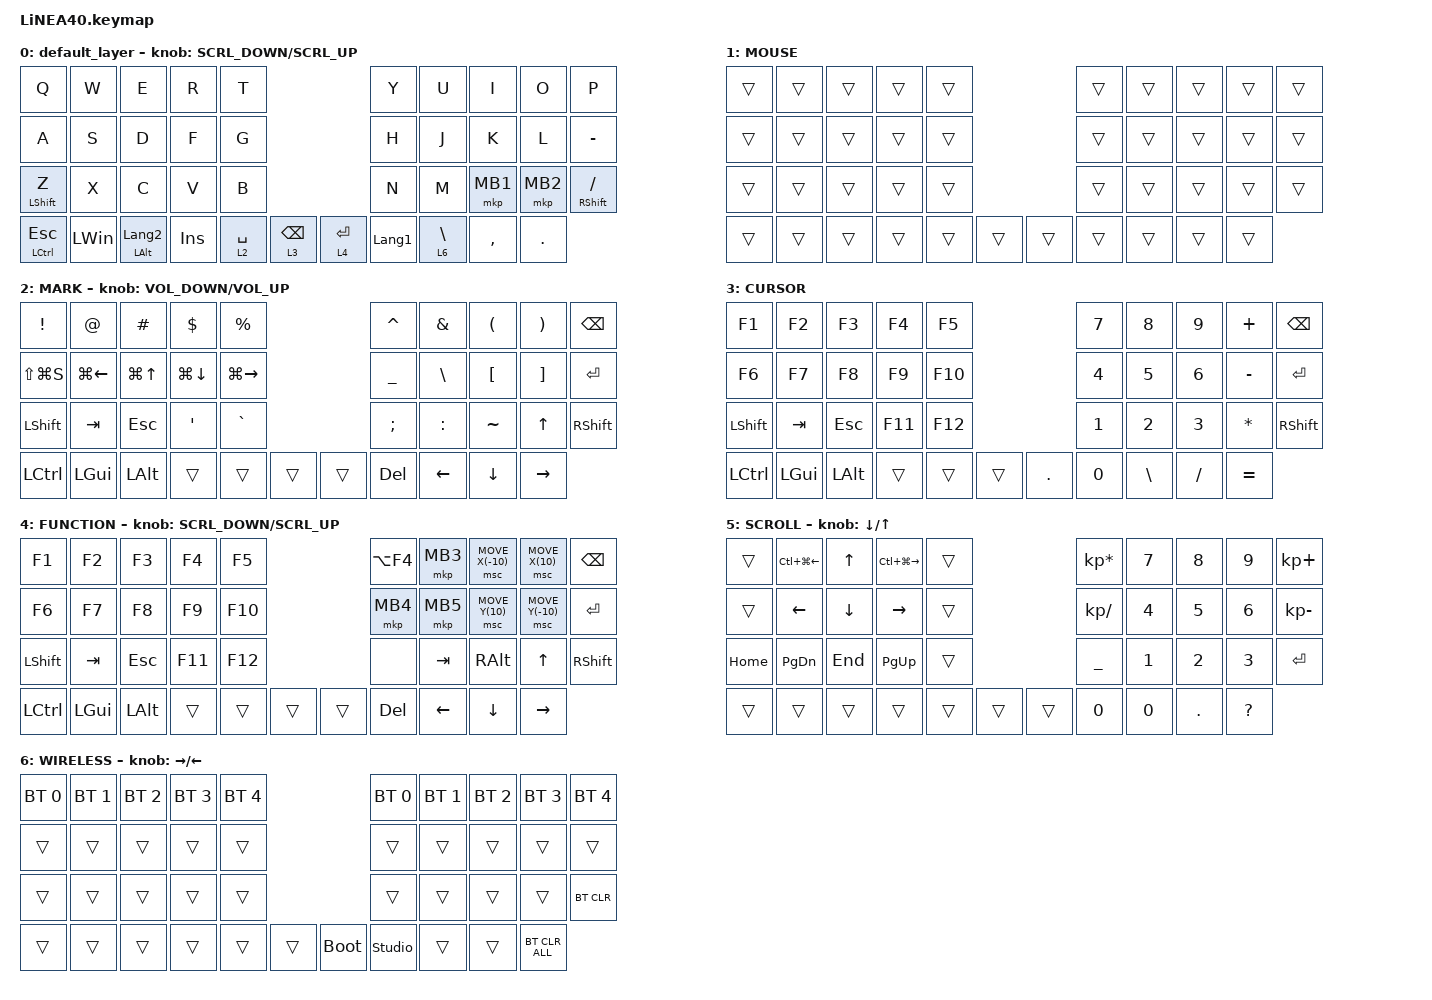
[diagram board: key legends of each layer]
#define ZMK_POINTING_DEFAULT_SCRL_VAL 150

#include <dt-bindings/zmk/input_transform.h>
#include <input/processors.dtsi>
#include <zephyr/dt-bindings/input/input-event-codes.h>
#include <behaviors.dtsi>
#include <dt-bindings/zmk/bt.h>
#include <dt-bindings/zmk/keys.h>
#include <dt-bindings/zmk/pointing.h>

#define MOUSE 1
#define MARK 2
#define CURSOR 3
#define FUNCTION 4
#define SCROLL 5
#define WIRELESS 6

//mouse cursol

&mmv {
    delay-ms = <20>;
    trigger-period-ms = <5>;
    time-to-max-speed-ms = <100>;
    acceleration-exponent = <2>;
};

//mouse scroll

&msc {
    delay-ms = <3>;
    trigger-period-ms = <3>;
    time-to-max-speed-ms = <100>;
    acceleration-exponent = <0>;
};

&mt {
    flavor = "tap-preferred";
    quick-tap-ms = <125>;
};

&lt { quick-tap-ms = <125>; };

/ {
    input_processors {
        zip_wheel_scaler: zip_wheel_scaler {
            compatible = "zmk,input-processor-scaler";
            #input-processor-cells = <2>;
            type = <INPUT_EV_REL>;
            codes = <INPUT_REL_WHEEL>;
            track-remainders;
        };
    };
};

&msc_input_listener {
    speed_up {
        layers = <FUNCTION>;
        input-processors = <&zip_wheel_scaler 3 1>; //スクロールを3倍速にする
    };
};

&trackball_listener {
    scroller {
        layers = <SCROLL>;
        input-processors =
            <&zip_xy_transform INPUT_TRANSFORM_Y_INVERT>,
            //スクロール方向を逆転,,,,,,,,,,,,,,,,,,,,,,,,,,,,,,,,,
            <&zip_xy_to_scroll_mapper>;
    };
};

/ {
    combos { compatible = "zmk,combos"; };

    behaviors {
        re_kp: sensor_rotate_kp {
            compatible = "zmk,behavior-sensor-rotate-var";
            #sensor-binding-cells = <2>;
            bindings = <&kp>, <&kp>;
        };

        mouse_scrl: mouse_wheel_scrl {
            compatible = "zmk,behavior-sensor-rotate-var";
            #sensor-binding-cells = <2>;
            bindings = <&msc>, <&msc>;

            tap-ms = <20>;
        };
    };

    keymap {
        compatible = "zmk,keymap";

        default_layer {
            bindings = <
&kp Q             &kp W         &kp E                    &kp R    &kp T                                        &kp Y           &kp U  &kp I            &kp O      &kp P
&kp A             &kp S         &kp D                    &kp F    &kp G                                        &kp H           &kp J  &kp K            &kp L      &kp MINUS
&mt LEFT_SHIFT Z  &kp X         &kp C                    &kp V    &kp B                                        &kp N           &kp M  &mkp MB1         &mkp MB2   &mt RIGHT_SHIFT SLASH
&mt LCTRL ESCAPE  &kp LEFT_WIN  &mt LEFT_ALT LANGUAGE_2  &kp INS  &lt 2 SPACE  &lt 3 BACKSPACE    &lt 4 ENTER  &kp LANGUAGE_1         &lt 6 BACKSLASH  &kp COMMA  &kp DOT
            >;

            sensor-bindings = <&mouse_scrl SCRL_DOWN SCRL_UP>;
        };

        //1

        MOUSE {
            bindings = <
&trans  &trans  &trans  &trans  &trans                    &trans  &trans  &trans  &trans  &trans
&trans  &trans  &trans  &trans  &trans                    &trans  &trans  &trans  &trans  &trans
&trans  &trans  &trans  &trans  &trans                    &trans  &trans  &trans  &trans  &trans
&trans  &trans  &trans  &trans  &trans  &trans    &trans  &trans          &trans  &trans  &trans
            >;
        };

        //2

        MARK {
            bindings = <
&kp EXCLAMATION  &kp AT              &kp HASH          &kp DOLLAR    &kp PERCENT                      &kp CARET      &kp AMPERSAND  &kp LEFT_PARENTHESIS  &kp RIGHT_PARENTHESIS  &kp BACKSPACE
&kp LS(LG(S))    &kp LG(LEFT_ARROW)  &kp LG(UP_ARROW)  &kp LG(DOWN)  &kp LG(RIGHT)                    &kp UNDER      &kp BACKSLASH  &kp LEFT_BRACKET      &kp RIGHT_BRACKET      &kp ENTER
&kp LEFT_SHIFT   &kp TAB             &kp ESC           &kp APOS      &kp GRAVE                        &kp SEMICOLON  &kp COLON      &kp TILDE             &kp UP_ARROW           &kp RIGHT_SHIFT
&kp LCTRL        &kp LEFT_GUI        &kp LEFT_ALT      &trans        &trans         &trans    &trans  &kp DEL                       &kp LEFT_ARROW        &kp DOWN               &kp RIGHT
            >;

            sensor-bindings = <&re_kp C_VOLUME_DOWN C_VOLUME_UP>;
        };

        //3

        CURSOR {
            bindings = <
&kp F1          &kp F2        &kp F3        &kp F4   &kp F5                         &kp N7        &kp N8        &kp N9         &kp PLUS      &kp BACKSPACE
&kp F6          &kp F7        &kp F8        &kp F9   &kp F10                        &kp NUMBER_4  &kp N5        &kp NUMBER_6   &kp MINUS     &kp ENTER
&kp LEFT_SHIFT  &kp TAB       &kp ESCAPE    &kp F11  &kp F12                        &kp NUMBER_1  &kp NUMBER_2  &kp NUMBER_3   &kp ASTERISK  &kp RIGHT_SHIFT
&kp LCTRL       &kp LEFT_GUI  &kp LEFT_ALT  &trans   &trans   &trans    &kp PERIOD  &kp NUMBER_0                &kp BACKSLASH  &kp SLASH     &kp EQUAL
            >;
        };

        //4

        FUNCTION {
            bindings = <
&kp F1          &kp F2        &kp F3        &kp F4   &kp F5                     &kp LA(F4)  &mkp MB3  &msc MOVE_X(-10)  &msc MOVE_X(10)   &kp BACKSPACE
&kp F6          &kp F7        &kp F8        &kp F9   &kp F10                    &mkp MB4    &mkp MB5  &msc MOVE_Y(10)   &msc MOVE_Y(-10)  &kp ENTER
&kp LEFT_SHIFT  &kp TAB       &kp ESCAPE    &kp F11  &kp F12                    &none       &kp TAB   &kp RIGHT_ALT     &kp UP_ARROW      &kp RIGHT_SHIFT
&kp LCTRL       &kp LEFT_GUI  &kp LEFT_ALT  &trans   &trans   &trans    &trans  &kp DELETE            &kp LEFT_ARROW    &kp DOWN_ARROW    &kp RIGHT_ARROW
            >;

            sensor-bindings = <&mouse_scrl SCRL_DOWN SCRL_UP>;
        };

        //5

        SCROLL {
            bindings = <
&trans    &kp LC(LG(LEFT_ARROW))  &kp UP_ARROW  &kp LC(LG(RIGHT_ARROW))  &trans                    &kp KP_MULTIPLY  &kp NUMBER_7  &kp NUMBER_8  &kp NUMBER_9  &kp KP_PLUS
&trans    &kp LEFT_ARROW          &kp DOWN      &kp RIGHT_ARROW          &trans                    &kp KP_SLASH     &kp NUMBER_4  &kp NUMBER_5  &kp NUMBER_6  &kp KP_MINUS
&kp HOME  &kp PAGE_DOWN           &kp END       &kp PAGE_UP              &trans                    &kp UNDER        &kp NUMBER_1  &kp NUMBER_2  &kp NUMBER_3  &kp ENTER
&trans    &trans                  &trans        &trans                   &trans  &trans    &trans  &kp NUMBER_0                   &kp NUMBER_0  &kp DOT       &kp QUESTION
            >;

            sensor-bindings = <&inc_dec_kp DOWN_ARROW UP_ARROW>;
        };

        //6

        WIRELESS {
            bindings = <
&bt BT_SEL 0  &bt BT_SEL 1  &bt BT_SEL 2  &bt BT_SEL 3  &bt BT_SEL 4                         &bt BT_SEL 0    &bt BT_SEL 1  &bt BT_SEL 2  &bt BT_SEL 3  &bt BT_SEL 4
&trans        &trans        &trans        &trans        &trans                               &trans          &trans        &trans        &trans        &trans
&trans        &trans        &trans        &trans        &trans                               &trans          &trans        &trans        &trans        &bt BT_CLR
&trans        &trans        &trans        &trans        &trans        &trans    &bootloader  &studio_unlock                &trans        &trans        &bt BT_CLR_ALL
            >;

            sensor-bindings = <&inc_dec_kp RIGHT_ARROW LEFT_ARROW>;
        };
    };
};
